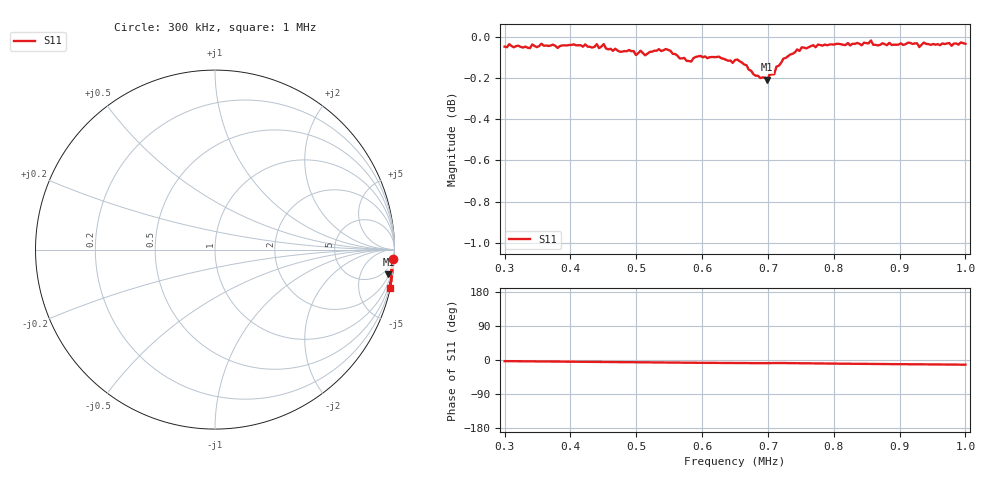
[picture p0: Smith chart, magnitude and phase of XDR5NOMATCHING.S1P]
!Agilent Technologies,E5071C,MY46100305,A.07.02
!Date: Fri Jan 01 00:28:57 1988
!Data & Calibration Information:
!Freq	S11:SOLT1(ON)
# Hz S MA R 50
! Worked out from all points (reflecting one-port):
!   201 points, 300 kHz to 1 MHz, reference 50 ohm
!   lowest |S11| = -0.2 dB at 699 kHz (marker M1), VSWR 83.44, Z = 117 - j687 ohm
!   phase of S11 starts at -3 deg and turns -9 deg over the sweep
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300000  0.9946 -3.0
387500  0.9953 -4.5
440000  0.996 -5.3
443500  0.9938 -5.4
450500  0.996 -5.5
461000  0.9934 -5.7
475000  0.9918 -5.8
499500  0.99 -6.2
506500  0.9924 -6.2
513500  0.9898 -6.3
545000  0.9933 -6.8
562500  0.9896 -7.1
583500  0.9863 -7.2
594000  0.9892 -7.2
625500  0.9891 -7.9
650000  0.9872 -8.1
671000  0.9819 -8.5
699000  0.9763 -8.1
720000  0.9856 -8.0
737500  0.9906 -8.4
776000  0.9958 -9.1
825000  0.9952 -9.9
856500  0.9981 -10.4
867000  0.9953 -10.5
912500  0.9968 -11.2
930000  0.9944 -11.4
937000  0.9969 -11.4
1000000  0.9962 -12.4
